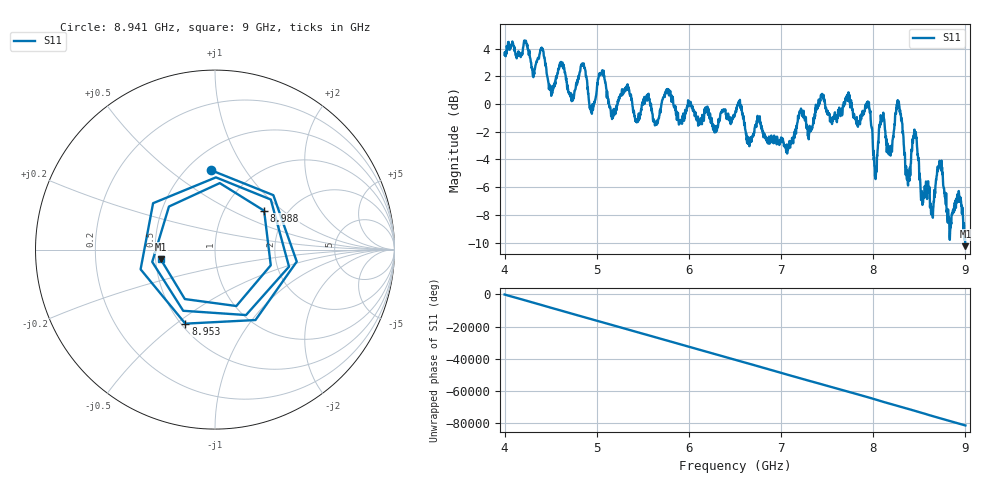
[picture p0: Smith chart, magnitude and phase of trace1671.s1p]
! Created with skrf 1.8.0 (http://scikit-rf.org).
# Hz S RI R 50.0
!freq ReS11 ImS11
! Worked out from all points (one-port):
!   1601 points, 4 GHz to 9 GHz, reference 50 ohm
!   lowest |S11| = -10.3 dB at 9 GHz (marker M1), VSWR 1.89, Z = 26.7 - j3.18 ohm
!   |S11| at or under -10 dB: 8.998233 GHz to end of sweep
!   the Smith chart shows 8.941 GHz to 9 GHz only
!   S11 on the Smith chart (normalised r, x): 8.941 GHz: 0.65, +0.71; 8.953 GHz: 0.53, -0.54; 8.988 GHz: 1.53, +0.75; 9 GHz: 0.53, -0.06
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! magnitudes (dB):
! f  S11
! 4 GHz  3.6
! 4.406 GHz  4.0
! 4.506 GHz  0.6
! 4.625 GHz  2.9
! 4.731 GHz  0.5
! 4.853 GHz  2.9
! 4.944 GHz  -0.5
! 5.05 GHz  2.2
! 5.25 GHz  0.6
! 5.875 GHz  -1.0
! 6.5 GHz  -0.7
! 7.125 GHz  -2.6
! 7.75 GHz  -0.2
! 7.944 GHz  -0.2
! 8.022 GHz  -5.0
! 8.088 GHz  -1.3
! 8.184 GHz  -3.6
! 8.275 GHz  0.2
! 8.375 GHz  -5.7
! 8.45 GHz  -2.3
! 8.538 GHz  -7.0
! 8.641 GHz  -7.9
! 8.722 GHz  -4.1
! 8.822 GHz  -8.2
! 8.941 GHz  -7.1
! 8.953 GHz  -7.0
! 8.988 GHz  -9.1
! 9 GHz  -10.3
